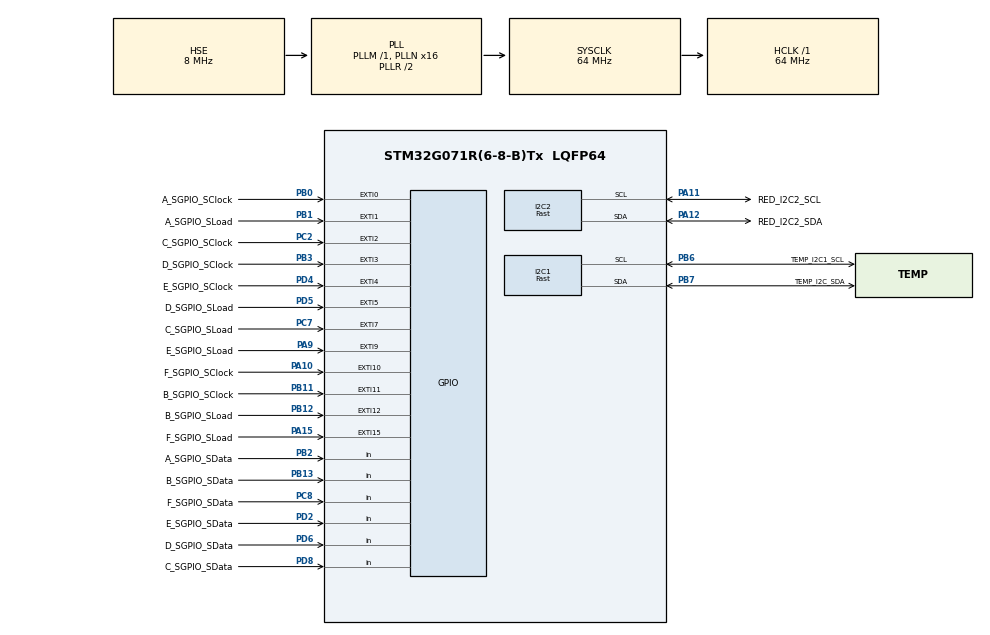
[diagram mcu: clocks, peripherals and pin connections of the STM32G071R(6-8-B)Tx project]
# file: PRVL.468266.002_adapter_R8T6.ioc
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Dma.I2C1_RX.0.Direction=DMA_PERIPH_TO_MEMORY
Dma.I2C1_RX.0.EventEnable=DISABLE
Dma.I2C1_RX.0.Instance=DMA1_Channel1
Dma.I2C1_RX.0.MemDataAlignment=DMA_MDATAALIGN_BYTE
Dma.I2C1_RX.0.MemInc=DMA_MINC_ENABLE
Dma.I2C1_RX.0.Mode=DMA_NORMAL
Dma.I2C1_RX.0.PeriphDataAlignment=DMA_PDATAALIGN_BYTE
Dma.I2C1_RX.0.PeriphInc=DMA_PINC_DISABLE
Dma.I2C1_RX.0.Polarity=HAL_DMAMUX_REQ_GEN_RISING
Dma.I2C1_RX.0.Priority=DMA_PRIORITY_LOW
Dma.I2C1_RX.0.RequestNumber=1
Dma.I2C1_RX.0.SignalID=NONE
Dma.I2C1_RX.0.SyncEnable=DISABLE
Dma.I2C1_RX.0.SyncPolarity=HAL_DMAMUX_SYNC_NO_EVENT
Dma.I2C1_RX.0.SyncRequestNumber=1
Dma.I2C1_RX.0.SyncSignalID=NONE
Dma.I2C1_TX.1.Direction=DMA_MEMORY_TO_PERIPH
Dma.I2C1_TX.1.EventEnable=DISABLE
Dma.I2C1_TX.1.Instance=DMA1_Channel2
Dma.I2C1_TX.1.MemDataAlignment=DMA_MDATAALIGN_BYTE
Dma.I2C1_TX.1.MemInc=DMA_MINC_ENABLE
Dma.I2C1_TX.1.Mode=DMA_NORMAL
Dma.I2C1_TX.1.PeriphDataAlignment=DMA_PDATAALIGN_BYTE
Dma.I2C1_TX.1.PeriphInc=DMA_PINC_DISABLE
Dma.I2C1_TX.1.Polarity=HAL_DMAMUX_REQ_GEN_RISING
Dma.I2C1_TX.1.Priority=DMA_PRIORITY_LOW
Dma.I2C1_TX.1.RequestNumber=1
Dma.I2C1_TX.1.SignalID=NONE
Dma.I2C1_TX.1.SyncEnable=DISABLE
Dma.I2C1_TX.1.SyncPolarity=HAL_DMAMUX_SYNC_NO_EVENT
Dma.I2C1_TX.1.SyncRequestNumber=1
Dma.I2C1_TX.1.SyncSignalID=NONE
Dma.Request0=I2C1_RX
Dma.Request1=I2C1_TX
I2C1.Analog_Filter=I2C_ANALOGFILTER_DISABLE
I2C1.I2C_Coeff_DF=0
I2C1.I2C_Fall_Time=100
I2C1.I2C_Rise_Time=100
I2C1.I2C_Speed_Mode=I2C_Fast
I2C1.OwnAddress=0x24
I2C1.Timing=0x00C12469
I2C2.Analog_Filter=I2C_ANALOGFILTER_ENABLE
I2C2.I2C_Fall_Time=100
I2C2.I2C_Rise_Time=100
I2C2.I2C_Speed_Mode=I2C_Fast
I2C2.NoStretchMode=I2C_NOSTRETCH_ENABLE
I2C2.Timing=0x00C12166
Mcu.Family=STM32G0
Mcu.Name=STM32G071R(6-8-B)Tx
Mcu.Package=LQFP64
NVIC.DMA1_Channel1_IRQn=true\:0\:0\:false\:false\:true\:false\:true\:true
NVIC.DMA1_Channel2_3_IRQn=true\:0\:0\:false\:false\:true\:false\:true\:true
NVIC.EXTI0_1_IRQn=true\:0\:0\:true\:true\:true\:1\:true\:true\:true
NVIC.EXTI2_3_IRQn=true\:0\:0\:true\:true\:true\:2\:true\:true\:true
NVIC.EXTI4_15_IRQn=true\:0\:0\:true\:true\:true\:3\:true\:true\:true
NVIC.TIM2_IRQn=true\:1\:0\:true\:false\:true\:true\:true\:true
NVIC.TIM3_IRQn=true\:1\:0\:true\:false\:true\:true\:true\:true
PA10.GPIO_Label=F_SGPIO_SClock
PA10.GPIO_ModeDefaultEXTI=GPIO_MODE_IT_FALLING
PA10.Signal=GPXTI10
PA11\ [PA9].GPIO_Label=RED_I2C2_SCL
PA11\ [PA9].Mode=I2C
PA11\ [PA9].Signal=I2C2_SCL
PA12\ [PA10].GPIO_Label=RED_I2C2_SDA
PA12\ [PA10].Mode=I2C
PA12\ [PA10].Signal=I2C2_SDA
PA13.Mode=Serial_Wire
PA13.Signal=SYS_SWDIO
PA14-BOOT0.Mode=Serial_Wire
PA14-BOOT0.Signal=SYS_SWCLK
PA15.GPIO_Label=F_SGPIO_SLoad
PA15.GPIO_ModeDefaultEXTI=GPIO_MODE_IT_FALLING
PA15.Signal=GPXTI15
PA9.GPIO_Label=E_SGPIO_SLoad
PA9.GPIO_ModeDefaultEXTI=GPIO_MODE_IT_FALLING
PA9.Signal=GPXTI9
PB0.GPIO_Label=A_SGPIO_SClock
PB0.GPIO_ModeDefaultEXTI=GPIO_MODE_IT_FALLING
PB0.Signal=GPXTI0
PB1.GPIO_Label=A_SGPIO_SLoad
PB1.GPIO_ModeDefaultEXTI=GPIO_MODE_IT_FALLING
PB1.Signal=GPXTI1
PB11.GPIO_Label=B_SGPIO_SClock
PB11.GPIO_ModeDefaultEXTI=GPIO_MODE_IT_FALLING
PB11.Signal=GPXTI11
PB12.GPIO_Label=B_SGPIO_SLoad
PB12.GPIO_ModeDefaultEXTI=GPIO_MODE_IT_FALLING
PB12.Signal=GPXTI12
PB13.GPIO_Label=B_SGPIO_SData
PB13.Signal=GPIO_Input
PB2.GPIO_Label=A_SGPIO_SData
PB2.Signal=GPIO_Input
PB3.GPIO_Label=D_SGPIO_SClock
PB3.GPIO_ModeDefaultEXTI=GPIO_MODE_IT_FALLING
PB3.Signal=GPXTI3
PB6.GPIO_Label=TEMP_I2C1_SCL
PB6.Mode=I2C
PB6.Signal=I2C1_SCL
PB7.GPIO_Label=TEMP_I2C_SDA
PB7.Mode=I2C
PB7.Signal=I2C1_SDA
PC2.GPIO_Label=C_SGPIO_SClock
PC2.GPIO_ModeDefaultEXTI=GPIO_MODE_IT_FALLING
PC2.Signal=GPXTI2
PC7.GPIO_Label=C_SGPIO_SLoad
PC7.GPIO_ModeDefaultEXTI=GPIO_MODE_IT_FALLING
PC7.Signal=GPXTI7
PC8.GPIO_Label=F_SGPIO_SData
PC8.Signal=GPIO_Input
PD2.GPIO_Label=E_SGPIO_SData
PD2.Signal=GPIO_Input
PD4.GPIO_Label=E_SGPIO_SClock
PD4.GPIO_ModeDefaultEXTI=GPIO_MODE_IT_FALLING
PD4.Signal=GPXTI4
PD5.GPIO_Label=D_SGPIO_SLoad
PD5.GPIO_ModeDefaultEXTI=GPIO_MODE_IT_FALLING
PD5.Signal=GPXTI5
PD6.GPIO_Label=D_SGPIO_SData
PD6.Signal=GPIO_Input
PD8.GPIO_Label=C_SGPIO_SData
PD8.Signal=GPIO_Input
PF0-OSC_IN\ (PF0).Mode=HSE-External-Oscillator
PF0-OSC_IN\ (PF0).Signal=RCC_OSC_IN
PF1-OSC_OUT\ (PF1).Mode=HSE-External-Oscillator
PF1-OSC_OUT\ (PF1).Signal=RCC_OSC_OUT
ProjectManager.HeapSize=0x200
ProjectManager.StackSize=0x400
ProjectManager.TargetToolchain=STM32CubeIDE
RCC.ADCFreq_Value=64000000
RCC.AHBFreq_Value=64000000
RCC.CortexFreq_Value=64000000
RCC.EXTERNAL_CLOCK_VALUE=48000
RCC.EnbaleCSS=true
RCC.HCLKFreq_Value=64000000
RCC.HSE_VALUE=8000000
RCC.HSI_VALUE=16000000
RCC.LSE_VALUE=32768
RCC.PLLN=16
RCC.PLLQ=RCC_PLLQ_DIV4
RCC.PLLSourceVirtual=RCC_PLLSOURCE_HSE
RCC.SYSCLKFreq_VALUE=64000000
RCC.SYSCLKSource=RCC_SYSCLKSOURCE_PLLCLK
RCC.VCOOutputFreq_Value=128000000
TIM2.Period=63999
TIM2.Prescaler=999
TIM3.Period=63999
TIM3.Prescaler=499
VP_TIM2_VS_ClockSourceINT.Mode=Internal
VP_TIM3_VS_ClockSourceINT.Mode=Internal
board=custom

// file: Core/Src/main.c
/* USER CODE BEGIN Header */
/**
 ******************************************************************************
 * @file           : main.c
 * @brief          : Main program body
 ******************************************************************************
 * @attention
 *
 * Copyright (c) 2025 STMicroelectronics.
 * All rights reserved.
 *
 * This software is licensed under terms that can be found in the LICENSE file
 * in the root directory of this software component.
 * If no LICENSE file comes with this software, it is provided AS-IS.
 *
 ******************************************************************************
 */
/* USER CODE END Header */
#include "main.h"
#include "stdint.h"

/* USER CODE BEGIN PTD */
typedef enum {
	CHANNEL_A,
	CHANNEL_B,
	CHANNEL_C,
	CHANNEL_D,
	CHANNEL_E,
	CHANNEL_F,
} CurrentChannel;

volatile CurrentChannel currentChannel = CHANNEL_A; // Начинаем с канала A
/* USER CODE END PTD */

/* USER CODE BEGIN PD */
#define Repeater1 0x59
#define Repeater2 0x5B
#define Repeater3 0x5F

#define Repeater1_RX 0x59
#define Repeater2_RX 0x5B
#define Repeater3_RX 0x5F

#define Repeater1_TX 0x5E
#define Repeater2_TX 0x66
#define Repeater3_TX 0x60
/* USER CODE END PD */

I2C_HandleTypeDef hi2c1;
I2C_HandleTypeDef hi2c2;
DMA_HandleTypeDef hdma_i2c1_rx;
DMA_HandleTypeDef hdma_i2c1_tx;

TIM_HandleTypeDef htim2;
TIM_HandleTypeDef htim3;

/* USER CODE BEGIN PV */
uint16_t adr_choice = 0x73; //Расширитель I2C

uint8_t disk_status[6] = {0}; // 6 байт для хранения состояний 24 дисков

uint8_t I2CInit_1[2] = {0x1, 0x0};
uint8_t I2CInit_2[2] = {0x2, 0x0};
uint8_t I2CTransmit[2] = {0x00, 0x00};

uint8_t isReceiving_A = 0;
uint16_t sgpioBuffer_A = 0;
uint8_t bitCounter_A = 0;

uint8_t isReceiving_B = 0;
uint16_t sgpioBuffer_B = 0;
uint8_t bitCounter_B = 0;

uint8_t isReceiving_C = 0;
uint16_t sgpioBuffer_C = 0;
uint8_t bitCounter_C = 0;

uint8_t isReceiving_D = 0;
uint16_t sgpioBuffer_D = 0;
uint8_t bitCounter_D = 0;

uint8_t isReceiving_E = 0;
uint16_t sgpioBuffer_E = 0;
uint8_t bitCounter_E = 0;

uint8_t isReceiving_F = 0;
uint16_t sgpioBuffer_F = 0;
uint8_t bitCounter_F = 0;

uint8_t sgpio_started = 0;
uint8_t sgpio_detected = 0;

/* USER CODE END PV */

void SystemClock_Config(void);
static void MX_GPIO_Init(void);
static void MX_DMA_Init(void);
static void MX_I2C1_Init(void);
static void MX_I2C2_Init(void);
static void MX_TIM2_Init(void);
static void MX_TIM3_Init(void);
static void MX_NVIC_Init(void);
/* USER CODE BEGIN PFP */

void Update_Disk_Status(uint8_t disk_id, uint8_t status) {
	if (disk_id >= 24) return; // Проверка на корректность disk_id

	// Вычисляем позицию в массиве disk_status
	uint8_t byte_index = disk_id / 4; // Каждый байт содержит 4 диска
	uint8_t bit_offset = (disk_id % 4) * 2; // Смещение в байте (0, 2, 4, 6)

	// Очищаем старые биты и записываем новые
	disk_status[byte_index] &= ~(0x03 << bit_offset); // Очистка битов
	disk_status[byte_index] |= (status & 0x03) << bit_offset; // Запись новых битов
}

void ProcessSGPIOData(uint16_t sgpioData, uint8_t startIndex)
{

	for (int i = 0; i < 4; ++i) {
		uint8_t diskIndex = startIndex + i; // ндекс диска (0-3 для A, 4- 7 для B)
		uint8_t diskStatus = (sgpioData >> (3 * i)) & 0x07; // �?звлечение 3 бит для диска

		if (((diskStatus >> 0) & 0x01) == 1)
			{
			Update_Disk_Status(diskIndex, 0x01) ;// 1-й бит - активность
			} else
		if (((diskStatus >> 1) & 0x01) == 1)
			{
			Update_Disk_Status(diskIndex, 0x02);   // 2-й бит - локация
			}else
		if (((diskStatus >> 2) & 0x01) == 1)
			{
			Update_Disk_Status(diskIndex, 0x03);    // 3-й бит - ошибка
			}else 	Update_Disk_Status(diskIndex, 0x00);    // 3-й бит - ошибка

		// Обновление статуса диска

	}
}

void configred(){

void sendI2c(int reg, int value, uint16_t adr_rep)
{
	I2CTransmit[0] = reg;
	I2CTransmit[1] = value;
	HAL_I2C_Master_Transmit(&hi2c2, (adr_rep << 1), I2CTransmit, 2, HAL_MAX_DELAY);
	HAL_Delay(10);
}
void A4_setting(int dB, int VOD, int dB_cont, int adr)
{
	sendI2c(0x0F, dB, adr);
	sendI2c(0x10, VOD, adr);
	sendI2c(0x11, dB_cont, adr);
}

void B4_setting(int dB, int VOD, int dB_cont, int adr)
{
	sendI2c(0x16, dB, adr); //db B_1
	sendI2c(0x17, VOD, adr); // B4
	sendI2c(0x18, dB_cont, adr);
}

void C4_setting(int dB, int VOD, int dB_cont, int adr)
{
	sendI2c(0x1D, dB, adr); //db B_2
	sendI2c(0x1E, VOD, adr); // C4
	sendI2c(0x1F, dB_cont, adr);
}

void D4_setting(int dB, int VOD, int dB_cont, int adr)
{
	sendI2c(0x24, dB, adr); //db B_3
	sendI2c(0x25, VOD, adr); // D4
	sendI2c(0x26, dB_cont, adr);
}

void E4_setting(int dB, int VOD, int dB_cont, int adr)
{
	sendI2c(0x2C, dB, adr); //db A_0
	sendI2c(0x2D, VOD, adr); // E4
	sendI2c(0x2E, dB_cont, adr);
}

void F4_setting(int dB, int VOD, int dB_cont, int adr)
{
	sendI2c(0x33, dB, adr); //db A_0
	sendI2c(0x34, VOD, adr); // E4
	sendI2c(0x35, dB_cont, adr);
}

void A3_setting(int dB, int VOD, int dB_cont, int adr)
{
	sendI2c(0x3A, dB, adr); //db A_0
	sendI2c(0x3B, VOD, adr); // E4
	sendI2c(0x3C, dB_cont, adr);
}

void B3_setting(int dB, int VOD, int dB_cont, int adr)
{
	sendI2c(0x41, dB, adr); //db A_0
	sendI2c(0x42, VOD, adr); // E4
	sendI2c(0x43, dB_cont, adr);
}

void C3_setting(int dB, int VOD, int dB_cont, int adr)
{
	sendI2c(0x0F, dB, adr); //db A_0
	sendI2c(0x10, VOD, adr); // E4
	sendI2c(0x11, dB_cont, adr);
}

void D3_setting(int dB, int VOD, int dB_cont, int adr)
{
	sendI2c(0x16, dB, adr); //db A_0
	sendI2c(0x17, VOD, adr); // E4
	sendI2c(0x18, dB_cont, adr);
}

void E3_setting(int dB, int VOD, int dB_cont, int adr)
{
	sendI2c(0x1D, dB, adr); //db A_0
	sendI2c(0x1E, VOD, adr); // E4
	sendI2c(0x1F, dB_cont, adr);
}

void F3_setting(int dB, int VOD, int dB_cont, int adr)
{
	sendI2c(0x24, dB, adr); //db A_0
	sendI2c(0x25, VOD, adr); // E4
	sendI2c(0x26, dB_cont, adr);
}

void F2_setting(int dB, int VOD, int dB_cont, int adr)
{
	sendI2c(0x2C, dB, adr); //db A_0
	sendI2c(0x2D, VOD, adr); // E4
	sendI2c(0x2E, dB_cont, adr);
}

void E2_setting(int dB, int VOD, int dB_cont, int adr)
{
	sendI2c(0x33, dB, adr); //db A_0
	sendI2c(0x34, VOD, adr); // E4
	sendI2c(0x35, dB_cont, adr);
}

void D2_setting(int dB, int VOD, int dB_cont, int adr)
{
	sendI2c(0x3A, dB, adr); //db A_0
	sendI2c(0x3B, VOD, adr); // E4
	sendI2c(0x3C, dB_cont, adr);
}

void C2_setting(int dB, int VOD, int dB_cont, int adr)
{
	sendI2c(0x41, dB, adr); //db A_0
	sendI2c(0x42, VOD, adr); // E4
	sendI2c(0x43, dB_cont, adr);
}

void B2_setting(int dB, int VOD, int dB_cont, int adr)
{
	sendI2c(0x0F, dB, adr); //db A_0
	sendI2c(0x10, VOD, adr); // E4
	sendI2c(0x11, dB_cont, adr);
}

void A2_setting(int dB, int VOD, int dB_cont, int adr)
{
	sendI2c(0x16, dB, adr); //db A_0
	sendI2c(0x17, VOD, adr); // E4
	sendI2c(0x18, dB_cont, adr);
}

void F1_setting(int dB, int VOD, int dB_cont, int adr)
{
	sendI2c(0x1D, dB, adr); //db A_0
	sendI2c(0x1E, VOD, adr); // E4
	sendI2c(0x1F, dB_cont, adr);
}

void E1_setting(int dB, int VOD, int dB_cont, int adr)
{
	sendI2c(0x24, dB, adr); //db A_0
	sendI2c(0x25, VOD, adr); // E4
	sendI2c(0x26, dB_cont, adr);
}

void D1_setting(int dB, int VOD, int dB_cont, int adr)
{
	sendI2c(0x2C, dB, adr); //db A_0
	sendI2c(0x2D, VOD, adr); // E4
	sendI2c(0x2E, dB_cont, adr);
}

void C1_setting(int dB, int VOD, int dB_cont, int adr)
{
	sendI2c(0x33, dB, adr); //db A_0
	sendI2c(0x34, VOD, adr); // E4
	sendI2c(0x35, dB_cont, adr);
}

void B1_setting(int dB, int VOD, int dB_cont, int adr)
{
	sendI2c(0x3A, dB, adr); //db A_0
	sendI2c(0x3B, VOD, adr); // E4
	sendI2c(0x3C, dB_cont, adr);
}

void A1_setting(int dB, int VOD, int dB_cont, int adr)
{
	sendI2c(0x41, dB, adr); //db A_0
	sendI2c(0x42, VOD, adr); // E4
	sendI2c(0x43, dB_cont, adr);
}

void redriver_init_1 (uint16_t adr_rep) //RX0
{
	sendI2c(0x06, 0x18, adr_rep); // Channel initialization

	A4_setting(0x02, 0xAF, 0x80, adr_rep); //A4     dB, VOD/VID, Attenuation	//F4

	B4_setting(0x02, 0xAF, 0x80, adr_rep); //B4     dB, VOD/VID, Attenuation	//F3

	C4_setting(0x02, 0xAF, 0x80, adr_rep); //C4     dB, VOD/VID, Attenuation	//F2

	D4_setting(0x03, 0xAF, 0xE0, adr_rep); //D4     dB, VOD/VID, Attenuation	//F1

	E4_setting(0x03, 0xAF, 0x80, adr_rep); //E4     dB, VOD/VID, Attenuation	//E4

	F4_setting(0x03, 0xAF, 0x80, adr_rep); //F4     dB, VOD/VID, Attenuation	//E3

	A3_setting(0x03, 0xAE, 0x80, adr_rep); //A3     dB, VOD/VID, Attenuation	//E2

	B3_setting(0x02, 0xAF, 0x80, adr_rep); //B3     dB, VOD/VID, Attenuation	//E1
}

void redriver_init_2 (uint16_t adr_rep) //RX1
{
	sendI2c(0x06, 0x18, adr_rep); // Channel initialization

	C3_setting(0x02,  0xAF, 0x80, adr_rep); //C3     dB, VOD/VID, Attenuation	//D1

	D3_setting(0x03, 0xAF, 0xE0, adr_rep); //D3     dB, VOD/VID, Attenuation	//D2

	E3_setting(0x03, 0xAF, 0x80, adr_rep); //E3     dB, VOD/VID, Attenuation	//D3

	F3_setting(0x03, 0xAF, 0xE0, adr_rep); //F3     dB, VOD/VID, Attenuation	//D4

	F2_setting(0x03, 0xAF, 0xE0, adr_rep); //F2     dB, VOD/VID, Attenuation	//C4

	E2_setting(0x03, 0xAF, 0x80, adr_rep); //E2     dB, VOD/VID, Attenuation	//C3

	D2_setting(0x02, 0xAF, 0x80, adr_rep); //D2     dB, VOD/VID, Attenuation	//C2

	C2_setting(0x01, 0xAF, 0x80, adr_rep); //C2     dB, VOD/VID, Attenuation	//C1
}

void redriver_init_3 (uint16_t adr_rep) //RX3
{
	sendI2c(0x06, 0x18, adr_rep); // Channel initialization

	B2_setting(0x02, 0xAF, 0x80, adr_rep); //B2     dB, VOD/VID, Attenuation	//B4

	A2_setting(0x00, 0xAF, 0xE0, adr_rep); //A2     dB, VOD/VID, Attenuation	//B3

	F1_setting(0x03, 0xAF, 0xE0, adr_rep); //F1     dB, VOD/VID, Attenuation	//B2

	E1_setting(0x03, 0xAF, 0xA0, adr_rep); //E1     dB, VOD/VID, Attenuation	//B1

	D1_setting(0x02, 0xAF, 0xE0, adr_rep); //D1     dB, VOD/VID, Attenuation	//A4

	C1_setting(0x01, 0xAF, 0x80, adr_rep); //C1     dB, VOD/VID, Attenuation	//A3

	B1_setting(0x01, 0xAF, 0xE0, adr_rep); //B1     dB, VOD/VID, Attenuation	//A2

	A1_setting(0x00, 0xAE, 0xE0, adr_rep); //A1     dB, VOD/VID, Attenuation	//A1
}

void redriver_init_other1 (uint16_t adr_rep) //TX0
{
	sendI2c(0x06, 0x18, adr_rep); // Channel initialization

	A4_setting(0x01, 0xAF, 0x80, adr_rep); //A4     dB, VOD/VID, Attenuation	//F4

	B4_setting(0x02, 0xAF, 0x80, adr_rep); //B4     dB, VOD/VID, Attenuation	//F3

	C4_setting(0x02, 0xAF, 0x80, adr_rep); //C4     dB, VOD/VID, Attenuation	//F2

	D4_setting(0x02, 0xAF, 0xE0, adr_rep); //D4     dB, VOD/VID, Attenuation	//F1

	E4_setting(0x03, 0xAF, 0x84, adr_rep); //E4     dB, VOD/VID, Attenuation	//E4

	F4_setting(0x02, 0xAF, 0x84, adr_rep); //F4     dB, VOD/VID, Attenuation	//E3

	A3_setting(0x00, 0xAE, 0x80, adr_rep); //A3     dB, VOD/VID, Attenuation	//E2

	B3_setting(0x02, 0xAB, 0x82, adr_rep); //B3     dB, VOD/VID, Attenuation	//E1
}

void redriver_init_other2 (uint16_t adr_rep) //TX1
{
	sendI2c(0x06, 0x18, adr_rep); // Channel initialization

	C3_setting(0x02, 0xAD, 0x83, adr_rep); //C3     dB, VOD/VID, Attenuation	//D1

	D3_setting(0x02, 0xAD, 0x83, adr_rep); //D3     dB, VOD/VID, Attenuation	//D2

	E3_setting(0x02, 0xAE, 0x82, adr_rep); //E3     dB, VOD/VID, Attenuation	//D3

	F3_setting(0x03, 0xAA, 0xE3,  adr_rep); //F3     dB, VOD/VID, Attenuation	//D4

	F2_setting(0x02, 0xAF, 0xE4, adr_rep); //F2     dB, VOD/VID, Attenuation	//C4

	E2_setting(0x02, 0xAE, 0x82, adr_rep); //E2     dB, VOD/VID, Attenuation	//C3

	D2_setting(0x01, 0xA9, 0x82, adr_rep); //D2     dB, VOD/VID, Attenuation	//C2

	C2_setting(0x02, 0xAE, 0x83, adr_rep); //C2     dB, VOD/VID, Attenuation	//C1
}

void redriver_init_other3 (uint16_t adr_rep) //TX2
{
	sendI2c(0x06, 0x18, adr_rep); // Channel initialization

	B2_setting(0x01, 0xAD, 0x83, adr_rep); //B2     dB, VOD/VID, Attenuation	//B4

	A2_setting(0x01, 0xA8, 0x80, adr_rep); //A2     dB, VOD/VID, Attenuation	//B3

	F1_setting(0x02, 0xAF, 0xE4, adr_rep); //F1     dB, VOD/VID, Attenuation	//B2

	E1_setting(0x02, 0xAF, 0x84, adr_rep); //E1     dB, VOD/VID, Attenuation	//B1

	D1_setting(0x01, 0xAF, 0x80, adr_rep); //D1     dB, VOD/VID, Attenuation	//A4

	C1_setting(0x00, 0xAF, 0x80, adr_rep); //C1     dB, VOD/VID, Attenuation	//A3

	B1_setting(0x00, 0xAF, 0x82, adr_rep); //B1     dB, VOD/VID, Attenuation	//A2

	A1_setting(0x00, 0xAE, 0x80, adr_rep); //A1     dB, VOD/VID, Attenuation	//A1
}
void Redriver_Init(void)
{

	redriver_init_1 (Repeater1_RX); //Зашиваем 1 редрайвер на прием
    HAL_Delay(5);

    redriver_init_2 (Repeater2_RX);
    HAL_Delay(5);

    redriver_init_3 (Repeater3_RX);

    HAL_Delay(10);

    redriver_init_other1 (Repeater1_TX); //Зашиваем 1 редрайвер на передачу
    HAL_Delay(5);

    redriver_init_other2 (Repeater2_TX); //2
    HAL_Delay(5);

    redriver_init_other3 (Repeater3_TX); //3
}

Redriver_Init();
}
/* USER CODE END PFP */

int main(void)
{

  /* MCU Configuration--------------------------------------------------------*/

  /* Reset of all peripherals, Initializes the Flash interface and the Systick. */
  HAL_Init();

  /* Configure the system clock */
  SystemClock_Config();

  /* Initialize all configured peripherals */
  MX_GPIO_Init();
  MX_DMA_Init();
  MX_I2C1_Init();
  MX_I2C2_Init();
  configred();

  MX_TIM2_Init();
  MX_TIM3_Init();

  /* Initialize interrupts */
  MX_NVIC_Init();
  /* USER CODE BEGIN 2 */

	configred();

	HAL_Delay(100);
	// Включаем прерывания для I2C
	HAL_NVIC_EnableIRQ(I2C1_IRQn);

	// Пример обновления состояния дисков

  /* USER CODE END 2 */

  /* Infinite loop */
	while (1)
	{

    /* USER CODE BEGIN 3 */
		HAL_I2C_Slave_Transmit(&hi2c1, disk_status, 6, HAL_MAX_DELAY);
	}
  /* USER CODE END 3 */
}

void SystemClock_Config(void)
{
  RCC_OscInitTypeDef RCC_OscInitStruct = {0};
  RCC_ClkInitTypeDef RCC_ClkInitStruct = {0};

  /** Configure the main internal regulator output voltage
  */
  HAL_PWREx_ControlVoltageScaling(PWR_REGULATOR_VOLTAGE_SCALE1);

  /** Initializes the RCC Oscillators according to the specified parameters
  * in the RCC_OscInitTypeDef structure.
  */
  RCC_OscInitStruct.OscillatorType = RCC_OSCILLATORTYPE_HSE;
  RCC_OscInitStruct.HSEState = RCC_HSE_ON;
  RCC_OscInitStruct.PLL.PLLState = RCC_PLL_ON;
  RCC_OscInitStruct.PLL.PLLSource = RCC_PLLSOURCE_HSE;
  RCC_OscInitStruct.PLL.PLLM = RCC_PLLM_DIV1;
  RCC_OscInitStruct.PLL.PLLN = 16;
  RCC_OscInitStruct.PLL.PLLP = RCC_PLLP_DIV2;
  RCC_OscInitStruct.PLL.PLLQ = RCC_PLLQ_DIV4;
  RCC_OscInitStruct.PLL.PLLR = RCC_PLLR_DIV2;
  if (HAL_RCC_OscConfig(&RCC_OscInitStruct) != HAL_OK)
  {
    Error_Handler();
  }

  /** Initializes the CPU, AHB and APB buses clocks
  */
  RCC_ClkInitStruct.ClockType = RCC_CLOCKTYPE_HCLK|RCC_CLOCKTYPE_SYSCLK
                              |RCC_CLOCKTYPE_PCLK1;
  RCC_ClkInitStruct.SYSCLKSource = RCC_SYSCLKSOURCE_PLLCLK;
  RCC_ClkInitStruct.AHBCLKDivider = RCC_SYSCLK_DIV1;
  RCC_ClkInitStruct.APB1CLKDivider = RCC_HCLK_DIV1;

  if (HAL_RCC_ClockConfig(&RCC_ClkInitStruct, FLASH_LATENCY_2) != HAL_OK)
  {
    Error_Handler();
  }

  /** Enables the Clock Security System
  */
  HAL_RCC_EnableCSS();
}

/**
  * @brief NVIC Configuration.
  * @retval None
  */
static void MX_NVIC_Init(void)
{
  /* EXTI0_1_IRQn interrupt configuration */
  HAL_NVIC_SetPriority(EXTI0_1_IRQn, 0, 0);
  HAL_NVIC_EnableIRQ(EXTI0_1_IRQn);
  /* EXTI2_3_IRQn interrupt configuration */
  HAL_NVIC_SetPriority(EXTI2_3_IRQn, 0, 0);
  HAL_NVIC_EnableIRQ(EXTI2_3_IRQn);
  /* EXTI4_15_IRQn interrupt configuration */
  HAL_NVIC_SetPriority(EXTI4_15_IRQn, 0, 0);
  HAL_NVIC_EnableIRQ(EXTI4_15_IRQn);
}

static void MX_I2C1_Init(void)
{

  hi2c1.Instance = I2C1;
  hi2c1.Init.Timing = 0x00C12469;
  hi2c1.Init.OwnAddress1 = 72;
  hi2c1.Init.AddressingMode = I2C_ADDRESSINGMODE_7BIT;
  hi2c1.Init.DualAddressMode = I2C_DUALADDRESS_DISABLE;
  hi2c1.Init.OwnAddress2 = 0;
  hi2c1.Init.OwnAddress2Masks = I2C_OA2_NOMASK;
  hi2c1.Init.GeneralCallMode = I2C_GENERALCALL_DISABLE;
  hi2c1.Init.NoStretchMode = I2C_NOSTRETCH_DISABLE;
  if (HAL_I2C_Init(&hi2c1) != HAL_OK)
  {
    Error_Handler();
  }

  /** Configure Analogue filter
  */
  if (HAL_I2CEx_ConfigAnalogFilter(&hi2c1, I2C_ANALOGFILTER_DISABLE) != HAL_OK)
  {
    Error_Handler();
  }

  /** Configure Digital filter
  */
  if (HAL_I2CEx_ConfigDigitalFilter(&hi2c1, 0) != HAL_OK)
  {
    Error_Handler();
  }

}

static void MX_I2C2_Init(void)
{

  hi2c2.Instance = I2C2;
  hi2c2.Init.Timing = 0x00C12166;
  hi2c2.Init.OwnAddress1 = 0;
  hi2c2.Init.AddressingMode = I2C_ADDRESSINGMODE_7BIT;
  hi2c2.Init.DualAddressMode = I2C_DUALADDRESS_DISABLE;
  hi2c2.Init.OwnAddress2 = 0;
  hi2c2.Init.OwnAddress2Masks = I2C_OA2_NOMASK;
  hi2c2.Init.GeneralCallMode = I2C_GENERALCALL_DISABLE;
  hi2c2.Init.NoStretchMode = I2C_NOSTRETCH_ENABLE;
  if (HAL_I2C_Init(&hi2c2) != HAL_OK)
  {
    Error_Handler();
  }

  /** Configure Analogue filter
  */
  if (HAL_I2CEx_ConfigAnalogFilter(&hi2c2, I2C_ANALOGFILTER_ENABLE) != HAL_OK)
  {
    Error_Handler();
  }

  /** Configure Digital filter
  */
  if (HAL_I2CEx_ConfigDigitalFilter(&hi2c2, 0) != HAL_OK)
  {
    Error_Handler();
  }

}

static void MX_TIM2_Init(void)
{

  TIM_ClockConfigTypeDef sClockSourceConfig = {0};
  TIM_MasterConfigTypeDef sMasterConfig = {0};

  htim2.Instance = TIM2;
  htim2.Init.Prescaler = 999;
  htim2.Init.CounterMode = TIM_COUNTERMODE_UP;
  htim2.Init.Period = 63999;
  htim2.Init.ClockDivision = TIM_CLOCKDIVISION_DIV1;
  htim2.Init.AutoReloadPreload = TIM_AUTORELOAD_PRELOAD_DISABLE;
  if (HAL_TIM_Base_Init(&htim2) != HAL_OK)
  {
    Error_Handler();
  }
  sClockSourceConfig.ClockSource = TIM_CLOCKSOURCE_INTERNAL;
  if (HAL_TIM_ConfigClockSource(&htim2, &sClockSourceConfig) != HAL_OK)
  {
    Error_Handler();
  }
  sMasterConfig.MasterOutputTrigger = TIM_TRGO_RESET;
  sMasterConfig.MasterSlaveMode = TIM_MASTERSLAVEMODE_DISABLE;
  if (HAL_TIMEx_MasterConfigSynchronization(&htim2, &sMasterConfig) != HAL_OK)
  {
    Error_Handler();
  }

}

static void MX_TIM3_Init(void)
{

  TIM_ClockConfigTypeDef sClockSourceConfig = {0};
  TIM_MasterConfigTypeDef sMasterConfig = {0};

  htim3.Instance = TIM3;
  htim3.Init.Prescaler = 499;
  htim3.Init.CounterMode = TIM_COUNTERMODE_UP;
  htim3.Init.Period = 63999;
  htim3.Init.ClockDivision = TIM_CLOCKDIVISION_DIV1;
  htim3.Init.AutoReloadPreload = TIM_AUTORELOAD_PRELOAD_DISABLE;
  if (HAL_TIM_Base_Init(&htim3) != HAL_OK)
  {
    Error_Handler();
  }
  sClockSourceConfig.ClockSource = TIM_CLOCKSOURCE_INTERNAL;
  if (HAL_TIM_ConfigClockSource(&htim3, &sClockSourceConfig) != HAL_OK)
  {
    Error_Handler();
  }
  sMasterConfig.MasterOutputTrigger = TIM_TRGO_RESET;
  sMasterConfig.MasterSlaveMode = TIM_MASTERSLAVEMODE_DISABLE;
  if (HAL_TIMEx_MasterConfigSynchronization(&htim3, &sMasterConfig) != HAL_OK)
  {
    Error_Handler();
  }

}

static void MX_DMA_Init(void)
{

  /* DMA controller clock enable */
  __HAL_RCC_DMA1_CLK_ENABLE();

  /* DMA interrupt init */
  /* DMA1_Channel1_IRQn interrupt configuration */
  HAL_NVIC_SetPriority(DMA1_Channel1_IRQn, 0, 0);
  HAL_NVIC_EnableIRQ(DMA1_Channel1_IRQn);
  /* DMA1_Channel2_3_IRQn interrupt configuration */
  HAL_NVIC_SetPriority(DMA1_Channel2_3_IRQn, 0, 0);
  HAL_NVIC_EnableIRQ(DMA1_Channel2_3_IRQn);

}

static void MX_GPIO_Init(void)
{
  GPIO_InitTypeDef GPIO_InitStruct = {0};

  /* GPIO Ports Clock Enable */
  __HAL_RCC_GPIOF_CLK_ENABLE();
  __HAL_RCC_GPIOC_CLK_ENABLE();
  __HAL_RCC_GPIOB_CLK_ENABLE();
  __HAL_RCC_GPIOA_CLK_ENABLE();
  __HAL_RCC_GPIOD_CLK_ENABLE();

  /*Configure GPIO pins : C_SGPIO_SClock_Pin C_SGPIO_SLoad_Pin */
  GPIO_InitStruct.Pin = C_SGPIO_SClock_Pin|C_SGPIO_SLoad_Pin;
  GPIO_InitStruct.Mode = GPIO_MODE_IT_FALLING;
  GPIO_InitStruct.Pull = GPIO_NOPULL;
  HAL_GPIO_Init(GPIOC, &GPIO_InitStruct);

  /*Configure GPIO pins : A_SGPIO_SClock_Pin A_SGPIO_SLoad_Pin B_SGPIO_SClock_Pin B_SGPIO_SLoad_Pin
                           D_SGPIO_SClock_Pin */
  GPIO_InitStruct.Pin = A_SGPIO_SClock_Pin|A_SGPIO_SLoad_Pin|B_SGPIO_SClock_Pin|B_SGPIO_SLoad_Pin
                          |D_SGPIO_SClock_Pin;
  GPIO_InitStruct.Mode = GPIO_MODE_IT_FALLING;
  GPIO_InitStruct.Pull = GPIO_NOPULL;
  HAL_GPIO_Init(GPIOB, &GPIO_InitStruct);

  /*Configure GPIO pins : A_SGPIO_SData_Pin B_SGPIO_SData_Pin */
  GPIO_InitStruct.Pin = A_SGPIO_SData_Pin|B_SGPIO_SData_Pin;
  GPIO_InitStruct.Mode = GPIO_MODE_INPUT;
  GPIO_InitStruct.Pull = GPIO_NOPULL;
  HAL_GPIO_Init(GPIOB, &GPIO_InitStruct);

  /*Configure GPIO pins : E_SGPIO_SLoad_Pin F_SGPIO_SClock_Pin F_SGPIO_SLoad_Pin */
  GPIO_InitStruct.Pin = E_SGPIO_SLoad_Pin|F_SGPIO_SClock_Pin|F_SGPIO_SLoad_Pin;
  GPIO_InitStruct.Mode = GPIO_MODE_IT_FALLING;
  GPIO_InitStruct.Pull = GPIO_NOPULL;
  HAL_GPIO_Init(GPIOA, &GPIO_InitStruct);

  /*Configure GPIO pins : C_SGPIO_SData_Pin E_SGPIO_SData_Pin D_SGPIO_SData_Pin */
  GPIO_InitStruct.Pin = C_SGPIO_SData_Pin|E_SGPIO_SData_Pin|D_SGPIO_SData_Pin;
  GPIO_InitStruct.Mode = GPIO_MODE_INPUT;
  GPIO_InitStruct.Pull = GPIO_NOPULL;
  HAL_GPIO_Init(GPIOD, &GPIO_InitStruct);

  /*Configure GPIO pin : F_SGPIO_SData_Pin */
  GPIO_InitStruct.Pin = F_SGPIO_SData_Pin;
  GPIO_InitStruct.Mode = GPIO_MODE_INPUT;
  GPIO_InitStruct.Pull = GPIO_NOPULL;
  HAL_GPIO_Init(F_SGPIO_SData_GPIO_Port, &GPIO_InitStruct);

  /*Configure GPIO pins : E_SGPIO_SClock_Pin D_SGPIO_SLoad_Pin */
  GPIO_InitStruct.Pin = E_SGPIO_SClock_Pin|D_SGPIO_SLoad_Pin;
  GPIO_InitStruct.Mode = GPIO_MODE_IT_FALLING;
  GPIO_InitStruct.Pull = GPIO_NOPULL;
  HAL_GPIO_Init(GPIOD, &GPIO_InitStruct);

}

/* USER CODE BEGIN 4 */
void HAL_GPIO_EXTI_Falling_Callback(uint16_t GPIO_Pin)
{
	if (GPIO_Pin == A_SGPIO_SLoad_Pin && currentChannel == CHANNEL_A)
	{
		// Начало приема данных для канала A
		isReceiving_A = 1;
		sgpioBuffer_A = 0;
		bitCounter_A = 0;
		sgpio_started = 1;
	}
	else if (GPIO_Pin == B_SGPIO_SLoad_Pin && currentChannel == CHANNEL_B)
	{
		// Начало приема данных для канала B
		isReceiving_B = 1;
		sgpioBuffer_B = 0;
		bitCounter_B = 0;
		sgpio_started = 1;
	}
	else if (GPIO_Pin == C_SGPIO_SLoad_Pin && currentChannel == CHANNEL_C)
	{
		// Начало приема данных для канала B
		isReceiving_C = 1;
		sgpioBuffer_C = 0;
		bitCounter_C = 0;
		sgpio_started = 1;
	}
	else if (GPIO_Pin == D_SGPIO_SLoad_Pin && currentChannel == CHANNEL_D)
	{
		// Начало приема данных для канала B
		isReceiving_D = 1;
		sgpioBuffer_D = 0;
		bitCounter_D = 0;
		sgpio_started = 1;
	}
	else if (GPIO_Pin == E_SGPIO_SLoad_Pin && currentChannel == CHANNEL_E)
	{
		// Начало приема данных для канала B
		isReceiving_E = 1;
		sgpioBuffer_E = 0;
		bitCounter_E = 0;
		sgpio_started = 1;
	}
	else if (GPIO_Pin == F_SGPIO_SLoad_Pin && currentChannel == CHANNEL_F)
	{
		// Начало приема данных для канала B
		isReceiving_F = 1;
		sgpioBuffer_F = 0;
		bitCounter_F = 0;
		sgpio_started = 1;
	}

	if (GPIO_Pin == A_SGPIO_SClock_Pin && isReceiving_A && currentChannel == CHANNEL_A)
	{
		// Прием данных для канала A
		uint8_t dataBit = HAL_GPIO_ReadPin(A_SGPIO_SData_GPIO_Port, A_SGPIO_SData_Pin);

		// Сохранение бита в буфер
		sgpioBuffer_A |= (dataBit << bitCounter_A);
		bitCounter_A++;

		// Если принято 12 бит, завершить прием
		if (bitCounter_A >= 12) {
			isReceiving_A = 0;
			ProcessSGPIOData(sgpioBuffer_A, 20); // Обработка данных для дисков 0-3

			if(sgpioBuffer_A !=0)
			{
				sgpio_detected = 1;
				HAL_TIM_Base_Stop_IT(&htim2);
			}

			sgpioBuffer_A = 0; // Сброс буфера

			// Переключаемся на канал B только если прием данных завершен
			if (!isReceiving_B) {
				currentChannel = CHANNEL_B;
			}

		}
	}
	else if (GPIO_Pin == B_SGPIO_SClock_Pin && isReceiving_B && currentChannel == CHANNEL_B)
	{
		// Прием данных для канала B
		uint8_t dataBit = HAL_GPIO_ReadPin(B_SGPIO_SData_GPIO_Port, B_SGPIO_SData_Pin);

		// Сохранение бита в буфер
		sgpioBuffer_B |= (dataBit << bitCounter_B);
		bitCounter_B++;

		// Если принято 12 бит, завершить прием
		if (bitCounter_B >= 12) {
			isReceiving_B = 0;
			ProcessSGPIOData(sgpioBuffer_B, 16); // Обработка данных для дисков 4-7
			if(sgpioBuffer_B != 0)
			{
				sgpio_detected = 1;
				HAL_TIM_Base_Stop_IT(&htim2);
			}

			sgpioBuffer_B = 0; // Сброс буфера

			// Переключаемся на канал A
			if (!isReceiving_A) {
				currentChannel = CHANNEL_C;
			}
		}
	}else if (GPIO_Pin == C_SGPIO_SClock_Pin && isReceiving_C && currentChannel == CHANNEL_C)
	{
		// Прием данных для канала A
		uint8_t dataBit = HAL_GPIO_ReadPin(C_SGPIO_SData_GPIO_Port, C_SGPIO_SData_Pin);

		// Сохранение бита в буфер
		sgpioBuffer_C |= (dataBit << bitCounter_C);
		bitCounter_C++;

		// Если принято 12 бит, завершить прием
		if (bitCounter_C >= 12) {
			isReceiving_C = 0;
			ProcessSGPIOData(sgpioBuffer_C, 12); // Обработка данных для дисков 8-11

			if(sgpioBuffer_C !=0)
			{
				sgpio_detected = 1;
				HAL_TIM_Base_Stop_IT(&htim2);
			}

			sgpioBuffer_C = 0; // Сброс буфера

			// Переключаемся на канал B только если прием данных завершен
			if (!isReceiving_C) {
				currentChannel = CHANNEL_D;
			}

		}
	}
	else if (GPIO_Pin == D_SGPIO_SClock_Pin && isReceiving_D && currentChannel == CHANNEL_D)
	{
		// Прием данных для канала B
		uint8_t dataBit = HAL_GPIO_ReadPin(D_SGPIO_SData_GPIO_Port, D_SGPIO_SData_Pin);

		// Сохранение бита в буфер
		sgpioBuffer_D |= (dataBit << bitCounter_D);
		bitCounter_D++;

		// Если принято 12 бит, завершить прием
		if (bitCounter_D >= 12) {
			isReceiving_D = 0;
			ProcessSGPIOData(sgpioBuffer_D, 8); // Обработка данных для дисков 12-15
			if(sgpioBuffer_D != 0)
			{
				sgpio_detected = 1;
				HAL_TIM_Base_Stop_IT(&htim2);
			}

			sgpioBuffer_D = 0; // Сброс буфера

			// Переключаемся на канал A
			if (!isReceiving_D) {
				currentChannel = CHANNEL_E;
			}
		}
	}
else if (GPIO_Pin == E_SGPIO_SClock_Pin && isReceiving_E && currentChannel == CHANNEL_E)
	{
		// Прием данных для канала A
		uint8_t dataBit = HAL_GPIO_ReadPin(E_SGPIO_SData_GPIO_Port, E_SGPIO_SData_Pin);

		// Сохранение бита в буфер
		sgpioBuffer_E |= (dataBit << bitCounter_E);
		bitCounter_E++;

		// Если принято 12 бит, завершить прием
		if (bitCounter_E >= 12) {
			isReceiving_E = 0;
			ProcessSGPIOData(sgpioBuffer_E, 4); // Обработка данных для дисков 16-19

			if(sgpioBuffer_E !=0)
			{
				sgpio_detected = 1;
				HAL_TIM_Base_Stop_IT(&htim2);
			}

			sgpioBuffer_E = 0; // Сброс буфера

			// Переключаемся на канал B только если прием данных завершен
			if (!isReceiving_E) {
				currentChannel = CHANNEL_F;
			}

		}
	}
	else if (GPIO_Pin == F_SGPIO_SClock_Pin && isReceiving_F && currentChannel == CHANNEL_F)
	{
		// Прием данных для канала B
		uint8_t dataBit = HAL_GPIO_ReadPin(F_SGPIO_SData_GPIO_Port, F_SGPIO_SData_Pin);

		// Сохранение бита в буфер
		sgpioBuffer_F |= (dataBit << bitCounter_F);
		bitCounter_F++;

		// Если принято 12 бит, завершить прием
		if (bitCounter_F >= 12) {
			isReceiving_F = 0;
			ProcessSGPIOData(sgpioBuffer_F, 0); // Обработка данных для дисков 20-23
			if(sgpioBuffer_F != 0)
			{
				sgpio_detected = 1;
				HAL_TIM_Base_Stop_IT(&htim2);
			}

			sgpioBuffer_F = 0; // Сброс буфера

			// Переключаемся на канал A
			if (!isReceiving_F) {
				currentChannel = CHANNEL_A;
			}
		}
	}
}
/* USER CODE END 4 */

void Error_Handler(void)
{
	__disable_irq();
	while (1)
	{
	}
}
